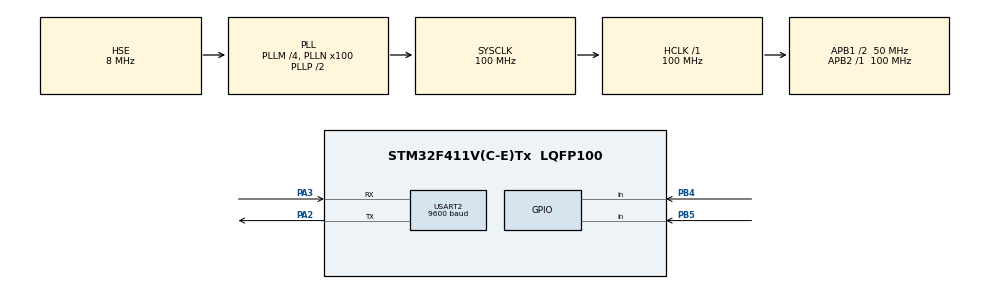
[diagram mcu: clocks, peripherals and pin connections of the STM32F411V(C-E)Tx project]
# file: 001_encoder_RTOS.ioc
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FREERTOS.Tasks01=encoderTask,24,384,get_encoder_task,Default,NULL,Dynamic,NULL,NULL
Mcu.Family=STM32F4
Mcu.Name=STM32F411V(C-E)Tx
Mcu.Package=LQFP100
NVIC.PriorityGroup=NVIC_PRIORITYGROUP_4
NVIC.USART2_IRQn=true\:5\:0\:false\:false\:true\:true\:true\:true\:true
PA2.Mode=Asynchronous
PA2.Signal=USART2_TX
PA3.Mode=Asynchronous
PA3.Signal=USART2_RX
PB4.Signal=GPIO_Input
PB5.Signal=GPIO_Input
PH0\ -\ OSC_IN.Mode=HSE-External-Oscillator
PH0\ -\ OSC_IN.Signal=RCC_OSC_IN
PH1\ -\ OSC_OUT.Mode=HSE-External-Oscillator
PH1\ -\ OSC_OUT.Signal=RCC_OSC_OUT
ProjectManager.HeapSize=0x200
ProjectManager.StackSize=0x400
ProjectManager.TargetToolchain=STM32CubeIDE
RCC.48MHZClocksFreq_Value=50000000
RCC.AHBFreq_Value=100000000
RCC.APB1CLKDivider=RCC_HCLK_DIV2
RCC.APB1Freq_Value=50000000
RCC.APB1TimFreq_Value=100000000
RCC.APB2Freq_Value=100000000
RCC.APB2TimFreq_Value=100000000
RCC.CortexFreq_Value=100000000
RCC.HCLKFreq_Value=100000000
RCC.HSE_VALUE=8000000
RCC.HSI_VALUE=16000000
RCC.LSE_VALUE=32768
RCC.PLLM=4
RCC.PLLN=100
RCC.PLLSourceVirtual=RCC_PLLSOURCE_HSE
RCC.SYSCLKFreq_VALUE=100000000
RCC.SYSCLKSource=RCC_SYSCLKSOURCE_PLLCLK
RCC.VCOOutputFreq_Value=200000000
USART2.BaudRate=9600
USART2.VirtualMode=VM_ASYNC
VP_FREERTOS_VS_CMSIS_V2.Mode=CMSIS_V2
board=custom

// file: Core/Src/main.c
/* USER CODE BEGIN Header */
/**
 ******************************************************************************
 * @file           : main.c
 * @brief          : Main program body
 ******************************************************************************
 * @attention
 *
 * Copyright (c) 2023 STMicroelectronics.
 * All rights reserved.
 *
 * This software is licensed under terms that can be found in the LICENSE file
 * in the root directory of this software component.
 * If no LICENSE file comes with this software, it is provided AS-IS.
 *
 ******************************************************************************
 */
/* USER CODE END Header */
#include "main.h"
#include "cmsis_os.h"

/* USER CODE BEGIN Includes */
#include "stdbool.h"
#include "stdio.h"
#include <string.h>
/* USER CODE END Includes */

UART_HandleTypeDef huart2;

/* Definitions for encoderTask */
osThreadId_t encoderTaskHandle;
const osThreadAttr_t encoderTask_attributes = { .name = "encoderTask",
		.stack_size = 384 * 4, .priority = (osPriority_t) osPriorityNormal, };

void SystemClock_Config(void);
static void MX_GPIO_Init(void);
static void MX_USART2_UART_Init(void);
void get_encoder_task(void *argument);

int main(void) {

	/* MCU Configuration--------------------------------------------------------*/

	/* Reset of all peripherals, Initializes the Flash interface and the Systick. */
	HAL_Init();

	/* Configure the system clock */
	SystemClock_Config();

	/* Initialize all configured peripherals */
	MX_GPIO_Init();
	MX_USART2_UART_Init();

	/* Init scheduler */
	osKernelInitialize();

	/* Create the thread(s) */
	/* creation of encoderTask */
	encoderTaskHandle = osThreadNew(get_encoder_task, NULL,
			&encoderTask_attributes);

	/* Start scheduler */
	osKernelStart();

	/* We should never get here as control is now taken by the scheduler */
	/* Infinite loop */
	while (1) {

	}
}

void SystemClock_Config(void) {
	RCC_OscInitTypeDef RCC_OscInitStruct = { 0 };
	RCC_ClkInitTypeDef RCC_ClkInitStruct = { 0 };

	/** Configure the main internal regulator output voltage
	 */
	__HAL_RCC_PWR_CLK_ENABLE();
	__HAL_PWR_VOLTAGESCALING_CONFIG(PWR_REGULATOR_VOLTAGE_SCALE1);

	/** Initializes the RCC Oscillators according to the specified parameters
	 * in the RCC_OscInitTypeDef structure.
	 */
	RCC_OscInitStruct.OscillatorType = RCC_OSCILLATORTYPE_HSE;
	RCC_OscInitStruct.HSEState = RCC_HSE_ON;
	RCC_OscInitStruct.PLL.PLLState = RCC_PLL_ON;
	RCC_OscInitStruct.PLL.PLLSource = RCC_PLLSOURCE_HSE;
	RCC_OscInitStruct.PLL.PLLM = 4;
	RCC_OscInitStruct.PLL.PLLN = 100;
	RCC_OscInitStruct.PLL.PLLP = RCC_PLLP_DIV2;
	RCC_OscInitStruct.PLL.PLLQ = 4;
	if (HAL_RCC_OscConfig(&RCC_OscInitStruct) != HAL_OK) {
		Error_Handler();
	}

	/** Initializes the CPU, AHB and APB buses clocks
	 */
	RCC_ClkInitStruct.ClockType = RCC_CLOCKTYPE_HCLK | RCC_CLOCKTYPE_SYSCLK
			| RCC_CLOCKTYPE_PCLK1 | RCC_CLOCKTYPE_PCLK2;
	RCC_ClkInitStruct.SYSCLKSource = RCC_SYSCLKSOURCE_PLLCLK;
	RCC_ClkInitStruct.AHBCLKDivider = RCC_SYSCLK_DIV1;
	RCC_ClkInitStruct.APB1CLKDivider = RCC_HCLK_DIV2;
	RCC_ClkInitStruct.APB2CLKDivider = RCC_HCLK_DIV1;

	if (HAL_RCC_ClockConfig(&RCC_ClkInitStruct, FLASH_LATENCY_3) != HAL_OK) {
		Error_Handler();
	}
}

static void MX_USART2_UART_Init(void) {

	huart2.Instance = USART2;
	huart2.Init.BaudRate = 9600;
	huart2.Init.WordLength = UART_WORDLENGTH_8B;
	huart2.Init.StopBits = UART_STOPBITS_1;
	huart2.Init.Parity = UART_PARITY_NONE;
	huart2.Init.Mode = UART_MODE_TX_RX;
	huart2.Init.HwFlowCtl = UART_HWCONTROL_NONE;
	huart2.Init.OverSampling = UART_OVERSAMPLING_16;
	if (HAL_UART_Init(&huart2) != HAL_OK) {
		Error_Handler();
	}

}

static void MX_GPIO_Init(void) {
	GPIO_InitTypeDef GPIO_InitStruct = { 0 };

	/* GPIO Ports Clock Enable */
	__HAL_RCC_GPIOH_CLK_ENABLE();
	__HAL_RCC_GPIOA_CLK_ENABLE();
	__HAL_RCC_GPIOB_CLK_ENABLE();

	/*Configure GPIO pins : PB4 PB5 */
	GPIO_InitStruct.Pin = GPIO_PIN_4 | GPIO_PIN_5;
	GPIO_InitStruct.Mode = GPIO_MODE_INPUT;
	GPIO_InitStruct.Pull = GPIO_NOPULL;
	HAL_GPIO_Init(GPIOB, &GPIO_InitStruct);

}

void get_encoder_task(void *argument) {
	/* USER CODE BEGIN 5 */
	int encoderPosCount = 0;
	char posCount[20];
	int pinALast;
	int aVal;
	bool bCW;
	pinALast = HAL_GPIO_ReadPin(GPIOB, GPIO_PIN_5);
	/* Infinite loop */
	for (;;) {
		aVal = HAL_GPIO_ReadPin(GPIOB, GPIO_PIN_5);
		if (aVal != pinALast) {

			if (HAL_GPIO_ReadPin(GPIOB, GPIO_PIN_4) != aVal) {
				encoderPosCount++;
				bCW = 1;
			} else {
				bCW = 0;
				encoderPosCount--;
			}
			HAL_UART_Transmit(&huart2, (uint8_t*) "Rotated: ", 8,
			HAL_MAX_DELAY);
			if (bCW) {
				HAL_UART_Transmit(&huart2, (uint8_t*) "clockwise\n", 9,
				HAL_MAX_DELAY);
			} else {
				HAL_UART_Transmit(&huart2, (uint8_t*) "counterclockwise\n", 15,
				HAL_MAX_DELAY);
			}
			HAL_UART_Transmit(&huart2, (uint8_t*) "Encoder Position: ", 17,
			HAL_MAX_DELAY);
			sprintf(posCount, "%d", encoderPosCount);
			HAL_UART_Transmit(&huart2, (uint8_t*) posCount, strlen(posCount),
			HAL_MAX_DELAY);
			HAL_UART_Transmit(&huart2, (uint8_t*) "\n", 1, HAL_MAX_DELAY);

		}
		pinALast = aVal;
	}
	/* USER CODE END 5 */
}

void Error_Handler(void) {
	__disable_irq();
	while (1) {
	}
}
